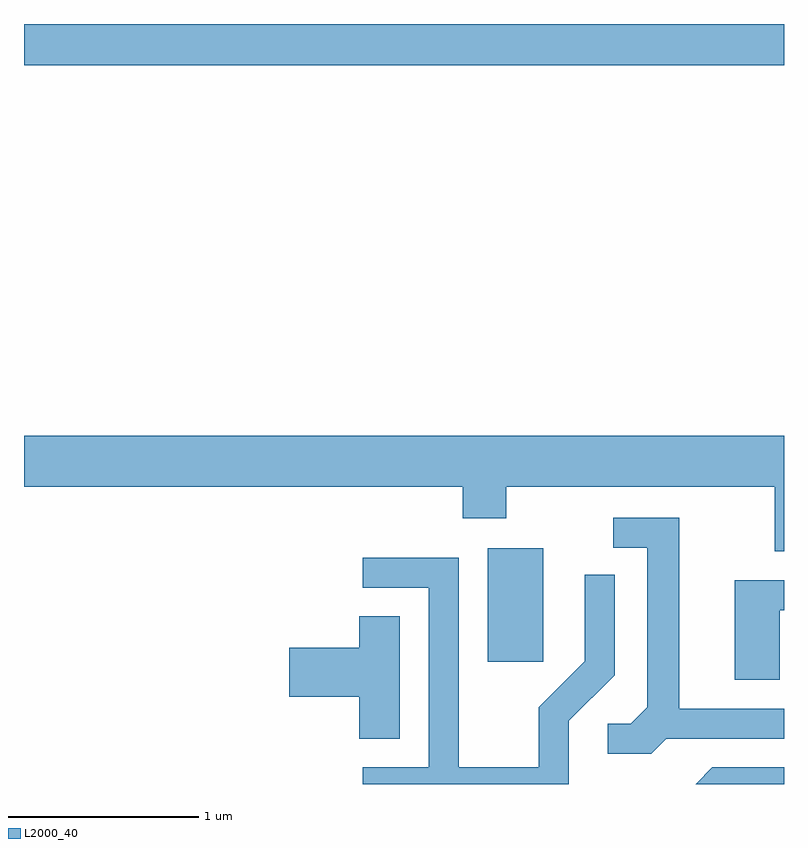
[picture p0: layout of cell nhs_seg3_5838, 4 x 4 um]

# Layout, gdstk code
import gdstk
lib = gdstk.Library(unit=1e-6, precision=1e-09)
def R(c, l, rs):  # rectangles x0, y0, x1, y1
    for r in rs: c.add(gdstk.rectangle(r[:2], r[2:], *l))
def P(c, l, *ps):  # polygons
    for p in ps: c.add(gdstk.Polygon(p, *l))
L2000_40 = (2000, 40)

nhs_seg3_5838 = lib.new_cell('nhs_seg3_5838')
R(nhs_seg3_5838, L2000_40, [(358.051,1240.536,358.344,1241.134), (355.611,1243.676,359.611,1243.892)])
P(nhs_seg3_5838, L2000_40, [(359.611,1241.724),(355.611,1241.724),(355.611,1241.456),(357.921,1241.456),(357.921,1241.291),(358.149,1241.291),(358.149,1241.456),(359.561,1241.456),(359.561,1241.116),(359.611,1241.116)],
  [(358.992,1240.131),(359.611,1240.131),(359.611,1240.289),(359.059,1240.289),(359.059,1241.294),(358.713,1241.294),(358.713,1241.136),(358.891,1241.136),(358.891,1240.297),(358.804,1240.209),(358.683,1240.209),(358.683,1240.051),(358.912,1240.051)],
  [(358.479,1240.224),(358.719,1240.464),(358.719,1240.993),(358.561,1240.993),(358.561,1240.537),(358.321,1240.297),(358.321,1239.979),(357.899,1239.979),(357.899,1241.084),(357.393,1241.084),(357.393,1240.926),(357.741,1240.926),(357.741,1239.979),(357.393,1239.979),(357.393,1239.892),(358.479,1239.892)],
  [(359.589,1240.806),(359.611,1240.806),(359.611,1240.964),(359.351,1240.964),(359.351,1240.441),(359.589,1240.441)],
  [(357.589,1240.774),(357.376,1240.774),(357.376,1240.609),(357.006,1240.609),(357.006,1240.351),(357.376,1240.351),(357.376,1240.131),(357.589,1240.131)],
  [(359.611,1239.979),(359.234,1239.979),(359.147,1239.892),(359.611,1239.892)])

lib.write_gds('nhs_seg3_5838.gds')
